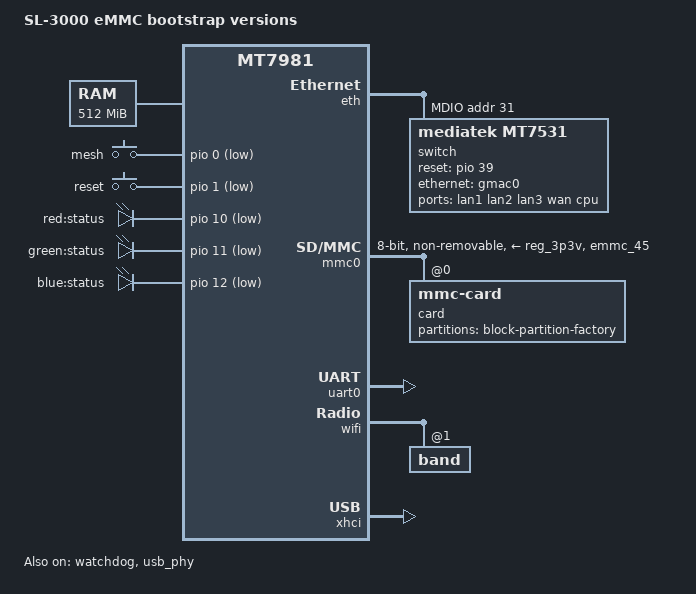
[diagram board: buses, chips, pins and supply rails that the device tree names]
// SPDX-License-Identifier: GPL-2.0-or-later OR MIT

/dts-v1/;
#include <dt-bindings/gpio/gpio.h>
#include <dt-bindings/input/input.h>
#include <dt-bindings/leds/common.h>

#include "mt7981.dtsi"

/ {
	model = "SL-3000 eMMC bootstrap versions";
	compatible = "sl,3000-emmc", "mediatek,mt7981";

	aliases {
		serial0 = &uart0;
		led-boot = &status_red_led;
		led-failsafe = &status_red_led;
		led-running = &status_green_led;
		led-upgrade = &status_blue_led;
	};

	chosen {
		bootargs = "root=PARTLABEL=rootfs rootwait";
		stdout-path = "serial0:115200n8";
	};

	memory@40000000 {
		reg = <0 0x40000000 0 0x20000000>;
	};

	gpio-keys {
		compatible = "gpio-keys";

		button-mesh {
			label = "mesh";
			linux,code = <BTN_9>;
			linux,input-type = <EV_SW>;
			gpios = <&pio 0 GPIO_ACTIVE_LOW>;
		};

		button-reset {
			label = "reset";
			linux,code = <KEY_RESTART>;
			gpios = <&pio 1 GPIO_ACTIVE_LOW>;
		};
	};

	gpio-leds {
		compatible = "gpio-leds";

                status_red_led: led-0 {
                        label = "red:status";
                        gpios = <&pio 10 GPIO_ACTIVE_LOW>;
                };

                status_green_led: led-1 {
                        label = "green:status";
                        gpios = <&pio 11 GPIO_ACTIVE_LOW>;
                };

                status_blue_led: led-2 {
                        label = "blue:status";
                        gpios = <&pio 12 GPIO_ACTIVE_LOW>;
		};
	};
};

&eth {
	status = "okay";

	gmac0: mac@0 {
		compatible = "mediatek,eth-mac";
		reg = <0>;
		phy-mode = "2500base-x";

		fixed-link {
			speed = <2500>;
			full-duplex;
			pause;
		};
	};
	
	gmac1: mac@1 {
		compatible = "mediatek,eth-mac";
		reg = <1>;
		phy-mode = "2500base-x";

		fixed-link {
			speed = <2500>;
			full-duplex;
			pause;
		};
	};



	mdio: mdio-bus {
		#address-cells = <1>;
		#size-cells = <0>;


		switch@0 {
			compatible = "mediatek,mt7531";
			reg = <31>;
			reset-gpios = <&pio 39 0>;

			ports {
				#address-cells = <1>;
				#size-cells = <0>;

				port@0 {
					reg = <0>;
					label = "lan1";
				};

				port@1 {
					reg = <1>;
					label = "lan2";
				};

				port@2 {
					reg = <2>;
					label = "lan3";
				};

				port@3 {
					reg = <3>;
					label = "wan";
				};
				
				port@6 {
					reg = <6>;
					label = "cpu";
					ethernet = <&gmac0>;
					phy-mode = "2500base-x";

					fixed-link {
						speed = <2500>;
						full-duplex;
						pause;
					};
				};
			};
		};
	};
};

&mmc0 {
	bus-width = <8>;
	cap-mmc-highspeed;
	max-frequency = <52000000>;
	no-sd;
	no-sdio;
	non-removable;
	pinctrl-names = "default", "state_uhs";
	pinctrl-0 = <&mmc0_pins_default>;
	pinctrl-1 = <&mmc0_pins_uhs>;
	vmmc-supply = <&reg_3p3v>;
	status = "okay";

	card@0 {
		compatible = "mmc-card";
		reg = <0>;

		block {
			compatible = "block-device";

			partitions {
				block-partition-factory {
					partname = "factory";

					nvmem-layout {
						compatible = "fixed-layout";
						#address-cells = <1>;
						#size-cells = <1>;

						eeprom_factory_0: eeprom@0 {
							reg = <0x0 0x1000>;
						};

						macaddr_factory_4: macaddr@4 {
							compatible = "mac-base";
							reg = <0x4 0x6>;
							#nvmem-cell-cells = <1>;
						};
					};
				};
			};
		};
	};
};

&pio {
	mmc0_pins_default: mmc0-pins-default {
		mux {
			function = "flash";
			groups = "emmc_45";
		};
	};

	mmc0_pins_uhs: mmc0-pins-uhs {
		mux {
			function = "flash";
			groups = "emmc_45";
		};
	};
};

&uart0 {
	status = "okay";
};

&watchdog {
	status = "okay";
};

&wifi {
	nvmem-cells = <&eeprom_factory_0>;
	nvmem-cell-names = "eeprom";
	status = "okay";

	band@1 {
		reg = <1>;
		nvmem-cells = <&macaddr_factory_4 1>;
		nvmem-cell-names = "mac-address";
	};
};

&usb_phy {
	status = "okay";
};

&xhci {
	status = "okay";
};
